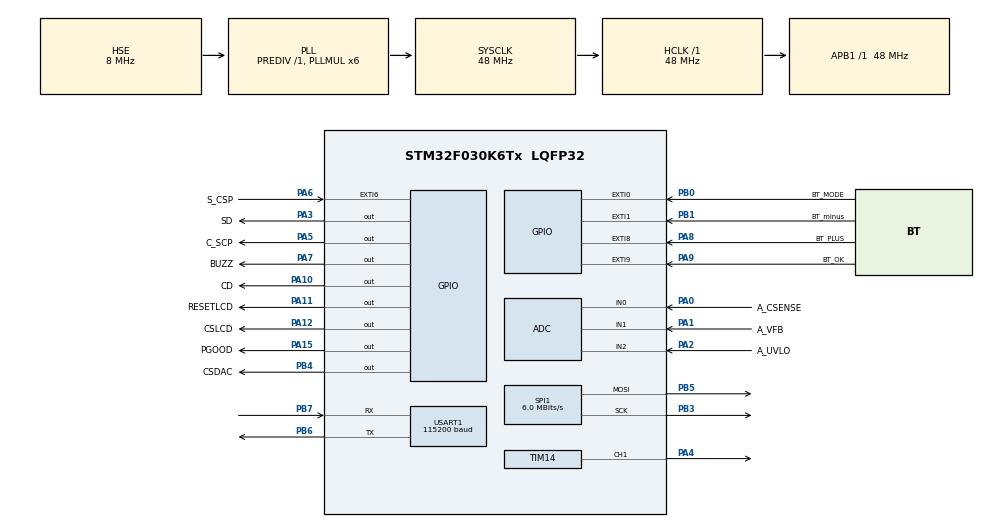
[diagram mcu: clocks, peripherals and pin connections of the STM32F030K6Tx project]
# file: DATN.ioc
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ADC.ContinuousConvMode=ENABLE
ADC.DMAContinuousRequests=ENABLE
ADC.EOCSelection=ADC_EOC_SEQ_CONV
ADC.ScanConvMode=ADC_SCAN_DIRECTION_BACKWARD
Dma.ADC.0.Direction=DMA_PERIPH_TO_MEMORY
Dma.ADC.0.Instance=DMA1_Channel1
Dma.ADC.0.MemDataAlignment=DMA_MDATAALIGN_WORD
Dma.ADC.0.MemInc=DMA_MINC_ENABLE
Dma.ADC.0.Mode=DMA_CIRCULAR
Dma.ADC.0.PeriphDataAlignment=DMA_PDATAALIGN_WORD
Dma.ADC.0.PeriphInc=DMA_PINC_DISABLE
Dma.ADC.0.Priority=DMA_PRIORITY_LOW
Dma.Request0=ADC
Dma.Request1=USART1_RX
Dma.Request2=USART1_TX
Dma.USART1_RX.1.Direction=DMA_PERIPH_TO_MEMORY
Dma.USART1_RX.1.Instance=DMA1_Channel3
Dma.USART1_RX.1.MemDataAlignment=DMA_MDATAALIGN_BYTE
Dma.USART1_RX.1.MemInc=DMA_MINC_ENABLE
Dma.USART1_RX.1.Mode=DMA_NORMAL
Dma.USART1_RX.1.PeriphDataAlignment=DMA_PDATAALIGN_BYTE
Dma.USART1_RX.1.PeriphInc=DMA_PINC_DISABLE
Dma.USART1_RX.1.Priority=DMA_PRIORITY_LOW
Dma.USART1_TX.2.Direction=DMA_MEMORY_TO_PERIPH
Dma.USART1_TX.2.Instance=DMA1_Channel2
Dma.USART1_TX.2.MemDataAlignment=DMA_MDATAALIGN_BYTE
Dma.USART1_TX.2.MemInc=DMA_MINC_ENABLE
Dma.USART1_TX.2.Mode=DMA_NORMAL
Dma.USART1_TX.2.PeriphDataAlignment=DMA_PDATAALIGN_BYTE
Dma.USART1_TX.2.PeriphInc=DMA_PINC_DISABLE
Dma.USART1_TX.2.Priority=DMA_PRIORITY_LOW
Mcu.Family=STM32F0
Mcu.Name=STM32F030K6Tx
Mcu.Package=LQFP32
NVIC.DMA1_Channel1_IRQn=true\:0\:0\:false\:false\:true\:false\:true\:true
NVIC.DMA1_Channel2_3_IRQn=true\:0\:0\:false\:false\:true\:false\:true\:true
NVIC.EXTI0_1_IRQn=true\:1\:0\:true\:false\:true\:true\:true\:true
NVIC.EXTI4_15_IRQn=true\:1\:0\:true\:false\:true\:true\:true\:true
NVIC.USART1_IRQn=true\:0\:0\:false\:false\:true\:true\:true\:true
PA0.GPIO_Label=A_CSENSE
PA0.Mode=IN0
PA0.Signal=ADC_IN0
PA1.GPIO_Label=A_VFB
PA1.Mode=IN1
PA1.Signal=ADC_IN1
PA10.GPIO_FMA10=__NULL
PA10.GPIO_Label=CD
PA10.GPIO_Speed=GPIO_SPEED_FREQ_HIGH
PA10.Signal=GPIO_Output
PA11.GPIO_Label=RESETLCD
PA11.GPIO_Speed=GPIO_SPEED_FREQ_HIGH
PA11.Signal=GPIO_Output
PA12.GPIO_Label=CSLCD
PA12.GPIO_PuPd=GPIO_NOPULL
PA12.GPIO_Speed=GPIO_SPEED_FREQ_HIGH
PA12.PinState=GPIO_PIN_SET
PA12.Signal=GPIO_Output
PA13.Mode=Serial_Wire
PA13.Signal=SYS_SWDIO
PA14.Mode=Serial_Wire
PA14.Signal=SYS_SWCLK
PA15.GPIO_Label=PGOOD
PA15.PinState=GPIO_PIN_SET
PA15.Signal=GPIO_Output
PA2.GPIO_Label=A_UVLO
PA2.Mode=IN2
PA2.Signal=ADC_IN2
PA3.GPIO_Label=SD
PA3.GPIO_PuPd=GPIO_NOPULL
PA3.PinState=GPIO_PIN_SET
PA3.Signal=GPIO_Output
PA4.Signal=S_TIM14_CH1
PA5.GPIO_Label=C_SCP
PA5.GPIO_PuPd=GPIO_PULLDOWN
PA5.Signal=GPIO_Output
PA6.GPIO_Label=S_CSP
PA6.GPIO_ModeDefaultEXTI=GPIO_MODE_IT_FALLING
PA6.Signal=GPXTI6
PA7.GPIO_Label=BUZZ
PA7.Signal=GPIO_Output
PA8.GPIO_Label=BT_PLUS
PA8.GPIO_ModeDefaultEXTI=GPIO_MODE_IT_FALLING
PA8.Signal=GPXTI8
PA9.GPIO_Label=BT_OK
PA9.GPIO_ModeDefaultEXTI=GPIO_MODE_IT_FALLING
PA9.Signal=GPXTI9
PB0.GPIO_Label=BT_MODE
PB0.GPIO_ModeDefaultEXTI=GPIO_MODE_IT_FALLING
PB0.Signal=GPXTI0
PB1.GPIO_Label=BT_minus
PB1.GPIO_ModeDefaultEXTI=GPIO_MODE_IT_FALLING
PB1.Signal=GPXTI1
PB3.Mode=TX_Only_Simplex_Unidirect_Master
PB3.Signal=SPI1_SCK
PB4.GPIO_Label=CSDAC
PB4.GPIO_PuPd=GPIO_NOPULL
PB4.GPIO_Speed=GPIO_SPEED_FREQ_HIGH
PB4.PinState=GPIO_PIN_SET
PB4.Signal=GPIO_Output
PB5.Mode=TX_Only_Simplex_Unidirect_Master
PB5.Signal=SPI1_MOSI
PB6.Mode=Asynchronous
PB6.Signal=USART1_TX
PB7.Mode=Asynchronous
PB7.Signal=USART1_RX
PF0-OSC_IN.Mode=HSE-External-Oscillator
PF0-OSC_IN.Signal=RCC_OSC_IN
PF1-OSC_OUT.Mode=HSE-External-Oscillator
PF1-OSC_OUT.Signal=RCC_OSC_OUT
ProjectManager.HeapSize=0x200
ProjectManager.StackSize=0x400
ProjectManager.TargetToolchain=MDK-ARM V5.32
RCC.AHBFreq_Value=48000000
RCC.APB1Freq_Value=48000000
RCC.APB1TimFreq_Value=48000000
RCC.HCLKFreq_Value=48000000
RCC.PLLMUL=RCC_PLL_MUL6
RCC.PLLSourceVirtual=RCC_PLLSOURCE_HSE
RCC.SYSCLKFreq_VALUE=48000000
RCC.SYSCLKSource=RCC_SYSCLKSOURCE_PLLCLK
SH.S_TIM14_CH1.0=TIM14_CH1,PWM Generation1 CH1
SPI1.BaudRatePrescaler=SPI_BAUDRATEPRESCALER_8
SPI1.CLKPhase=SPI_PHASE_2EDGE
SPI1.CLKPolarity=SPI_POLARITY_HIGH
SPI1.CalculateBaudRate=6.0 MBits/s
SPI1.DataSize=SPI_DATASIZE_8BIT
SPI1.Direction=SPI_DIRECTION_2LINES
SPI1.Mode=SPI_MODE_MASTER
SPI1.VirtualType=VM_MASTER
TIM14.AutoReloadPreload=TIM_AUTORELOAD_PRELOAD_DISABLE
TIM14.Channel=TIM_CHANNEL_1
TIM14.OCMode_PWM=TIM_OCMODE_PWM1
TIM14.Period=960-1
TIM14.Pulse=24
USART1.BaudRate=115200
USART1.VirtualMode-Asynchronous=VM_ASYNC
VP_TIM14_VS_ClockSourceINT.Mode=Enable_Timer
board=custom

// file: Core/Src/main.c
/* USER CODE BEGIN Header */
/**
  ******************************************************************************
  * @file           : main.c
  * @brief          : Main program body
  ******************************************************************************
  * @attention
  *
  * Copyright (c) 2022 STMicroelectronics.
  * All rights reserved.
  *
  * This software is licensed under terms that can be found in the LICENSE file
  * in the root directory of this software component.
  * If no LICENSE file comes with this software, it is provided AS-IS.
  *
  ******************************************************************************
  */
/* USER CODE END Header */
#include "main.h"

/* USER CODE BEGIN Includes */
#include<stdint.h>
//#include "stm32f0xx_hal_flash_ex.h"
/* USER CODE END Includes */

/* USER CODE BEGIN PTD */
typedef enum Warning_status
{
  WARNING_NONE = 0,
  WARNING_OVP,
  WARNING_OCP,
  WARNING_UVLO,
  WARNING_SCP
}WARNING_status;

typedef enum Mode_status
{
  MODE_NONE = 0,
  MODE_SET_VOUT,
  MODE_SET_OCP,
  MODE_SET_UVLO
};
/* USER CODE END PTD */

/* USER CODE BEGIN PD */
#define FACTOR_UVLO 156.844 // =(4095/3.3V)*(6.8k/(6.8k+47k))
#define FACTOR_VOUT 310.227 // =(4095/3.3V)*(15.67k/(15.67k+47k))
#define FACTOR_OVP 93.0681 // =0.3V*(4095/3.3V)*(15.67k/(15.67k+47k))
#define FACTOR_OCP(I_set) (1240.909 + I_set * 124.0909) // =(4095/3.3)*1 + I_set *((4095/3.3)/10A)

#define PG_TH 0.9 // 90% VOUT
#define PG_HYSTERESIS 0.05 // 5% VOUT
/* USER CODE END PD */

 ADC_HandleTypeDef hadc;
DMA_HandleTypeDef hdma_adc;

SPI_HandleTypeDef hspi1;

TIM_HandleTypeDef htim14;

UART_HandleTypeDef huart1;
DMA_HandleTypeDef hdma_usart1_rx;
DMA_HandleTypeDef hdma_usart1_tx;

/* USER CODE BEGIN PV */

FLASH_EraseInitTypeDef erase_init;
uint32_t erase_error_check = 0;

uint32_t adc_value[3]; // Position: [0]A_UVLO, [1]A_VFB, [2]A_CSENSE
uint8_t uart_rx_value[10];

uint32_t current_warning = WARNING_NONE;
uint32_t current_mode = MODE_NONE;
/* USER CODE END PV */

void SystemClock_Config(void);
static void MX_GPIO_Init(void);
static void MX_ADC_Init(void);
static void MX_SPI1_Init(void);
static void MX_DMA_Init(void);
static void MX_USART1_UART_Init(void);
static void MX_TIM14_Init(void);

int main(void)
{

  /* MCU Configuration--------------------------------------------------------*/

  /* Reset of all peripherals, Initializes the Flash interface and the Systick. */
  HAL_Init();

  /* Configure the system clock */
  SystemClock_Config();

  /* Initialize all configured peripherals */
  MX_GPIO_Init();
  MX_ADC_Init();
  MX_SPI1_Init();
  MX_DMA_Init();
  MX_USART1_UART_Init();
  MX_TIM14_Init();
  /* USER CODE BEGIN 2 */
  // Khởi tạo ADC, DMA, SPI, UART, LCD.
	HAL_ADC_Start_DMA(&hadc, adc_value, sizeof(adc_value));
	HAL_UART_Receive_DMA(&huart1, uart_rx_value, sizeof(uart_rx_value)); // Note: dữ liệu mới tự động ghi đè khi tràn vùng nhớ

  /*
  1. Khởi tạo giá trị của biến bảo vệ mặc định. VD: int UVLO = 11V.
  2. Sau đó đọc lại các giá trị này từ bộ nhớ flash.
  */
	float	uvlo = 11 * FACTOR_UVLO;		// Bảo vệ sụt áp tại 11V
	float vout = 3.3 * FACTOR_VOUT;		// Cài đặt điện áp ra 3.3V
	float ovp = vout + FACTOR_OVP;		// Bảo vệ quá áp khi vượt quá 0.3V
  float pw_good_th = vout*PG_TH;       // Ngưỡng kích hoạt LED Power good
  float pw_good_hys = vout*PG_HYSTERESIS; // Khoảng trễ LED Power good
	float ocp = FACTOR_OCP(10);				// Bảo vệ quá dòng 10A

  BEGIN_SWITCH_ON: // Bắt đầu đóng điện vào mạch công suất
  HAL_GPIO_WritePin(C_SCP_GPIO_Port, C_SCP_Pin, GPIO_PIN_SET); // Đóng điện vào
  HAL_TIM_PWM_Start(&htim14, TIM_CHANNEL_1); // Start timer, output PWM 50kHz 2.5%

  if((HAL_GPIO_ReadPin(S_CSP_GPIO_Port, S_CSP_Pin) & HAL_GPIO_ReadPin(C_SCP_GPIO_Port, C_SCP_Pin)) == 1){
    HAL_Delay(100); // delay 100ms
  }
  else{
    current_warning = WARNING_SCP;
    HAL_GPIO_WritePin(C_SCP_GPIO_Port, C_SCP_Pin, GPIO_PIN_RESET);
    HAL_GPIO_WritePin(SD_GPIO_Port, SD_Pin, GPIO_PIN_SET);
    HAL_TIM_PWM_Stop(&htim14, TIM_CHANNEL_1);
    // Hiển thị LCD ngắn mạch
    while (current_warning != WARNING_NONE); // wait for OK button
    goto BEGIN_SWITCH_ON;
  }
  /* USER CODE END 2 */

  /* Infinite loop */
  /* USER CODE BEGIN WHILE */
  BEGIN_OUTPUT: // Bắt đầu xuất điện áp ra VOUT và đo đạc ADC
  HAL_GPIO_WritePin(SD_GPIO_Port, SD_Pin, GPIO_PIN_RESET);
  while (1)
  {
    // Undervoltage lockout
    if(adc_value[0] <= uvlo){ // A_UVLO <= UVLO
      current_warning = WARNING_UVLO;
      HAL_GPIO_WritePin(C_SCP_GPIO_Port, C_SCP_Pin, GPIO_PIN_RESET);
      HAL_GPIO_WritePin(SD_GPIO_Port, SD_Pin, GPIO_PIN_SET);
      HAL_TIM_PWM_Stop(&htim14, TIM_CHANNEL_1);
      // Hiển thị LCD sụt áp
      while (current_warning != WARNING_NONE); // wait for OK button
      goto BEGIN_SWITCH_ON;
    }
    // Overvoltage protection
    if(adc_value[1] >= ovp){ // A_VFB >= OVP
      current_warning = WARNING_OVP;
      HAL_GPIO_WritePin(C_SCP_GPIO_Port, C_SCP_Pin, GPIO_PIN_RESET);
      HAL_GPIO_WritePin(SD_GPIO_Port, SD_Pin, GPIO_PIN_SET);
      // Hiển thị LCD quá áp
      while (current_warning != WARNING_NONE);
      goto BEGIN_SWITCH_ON;
    }
    // Overcurrent protection
    if(adc_value[2] >= ocp){ // A_CSENSE >= OCP
      current_warning = WARNING_OCP;
      HAL_GPIO_WritePin(SD_GPIO_Port, SD_Pin, GPIO_PIN_SET);
      // Hiển thị LCD quá dòng
      while (current_warning != WARNING_NONE);
      goto BEGIN_OUTPUT;
    }
    // LED power good
    if(adc_value[1] >= (pw_good_th + pw_good_hys)){
      HAL_GPIO_WritePin(PGOOD_GPIO_Port, PGOOD_Pin, GPIO_PIN_RESET);
    }else if (adc_value[1] <= (pw_good_th - pw_good_hys)){
      HAL_GPIO_WritePin(PGOOD_GPIO_Port, PGOOD_Pin, GPIO_PIN_SET);
    }

    // -------------------------------------
    // Hiển thị dòng, áp, công suất lên LCD.
    // -------------------------------------

    /* USER CODE END WHILE */

  }
}

void SystemClock_Config(void)
{
  RCC_OscInitTypeDef RCC_OscInitStruct = {0};
  RCC_ClkInitTypeDef RCC_ClkInitStruct = {0};
  RCC_PeriphCLKInitTypeDef PeriphClkInit = {0};

  /** Initializes the RCC Oscillators according to the specified parameters
  * in the RCC_OscInitTypeDef structure.
  */
  RCC_OscInitStruct.OscillatorType = RCC_OSCILLATORTYPE_HSI14|RCC_OSCILLATORTYPE_HSE;
  RCC_OscInitStruct.HSEState = RCC_HSE_ON;
  RCC_OscInitStruct.HSI14State = RCC_HSI14_ON;
  RCC_OscInitStruct.HSI14CalibrationValue = 16;
  RCC_OscInitStruct.PLL.PLLState = RCC_PLL_ON;
  RCC_OscInitStruct.PLL.PLLSource = RCC_PLLSOURCE_HSE;
  RCC_OscInitStruct.PLL.PLLMUL = RCC_PLL_MUL6;
  RCC_OscInitStruct.PLL.PREDIV = RCC_PREDIV_DIV1;
  if (HAL_RCC_OscConfig(&RCC_OscInitStruct) != HAL_OK)
  {
    Error_Handler();
  }

  /** Initializes the CPU, AHB and APB buses clocks
  */
  RCC_ClkInitStruct.ClockType = RCC_CLOCKTYPE_HCLK|RCC_CLOCKTYPE_SYSCLK
                              |RCC_CLOCKTYPE_PCLK1;
  RCC_ClkInitStruct.SYSCLKSource = RCC_SYSCLKSOURCE_PLLCLK;
  RCC_ClkInitStruct.AHBCLKDivider = RCC_SYSCLK_DIV1;
  RCC_ClkInitStruct.APB1CLKDivider = RCC_HCLK_DIV1;

  if (HAL_RCC_ClockConfig(&RCC_ClkInitStruct, FLASH_LATENCY_1) != HAL_OK)
  {
    Error_Handler();
  }
  PeriphClkInit.PeriphClockSelection = RCC_PERIPHCLK_USART1;
  PeriphClkInit.Usart1ClockSelection = RCC_USART1CLKSOURCE_PCLK1;
  if (HAL_RCCEx_PeriphCLKConfig(&PeriphClkInit) != HAL_OK)
  {
    Error_Handler();
  }
}

static void MX_ADC_Init(void)
{

  ADC_ChannelConfTypeDef sConfig = {0};

  /** Configure the global features of the ADC (Clock, Resolution, Data Alignment and number of conversion)
  */
  hadc.Instance = ADC1;
  hadc.Init.ClockPrescaler = ADC_CLOCK_ASYNC_DIV1;
  hadc.Init.Resolution = ADC_RESOLUTION_12B;
  hadc.Init.DataAlign = ADC_DATAALIGN_RIGHT;
  hadc.Init.ScanConvMode = ADC_SCAN_DIRECTION_BACKWARD;
  hadc.Init.EOCSelection = ADC_EOC_SEQ_CONV;
  hadc.Init.LowPowerAutoWait = DISABLE;
  hadc.Init.LowPowerAutoPowerOff = DISABLE;
  hadc.Init.ContinuousConvMode = ENABLE;
  hadc.Init.DiscontinuousConvMode = DISABLE;
  hadc.Init.ExternalTrigConv = ADC_SOFTWARE_START;
  hadc.Init.ExternalTrigConvEdge = ADC_EXTERNALTRIGCONVEDGE_NONE;
  hadc.Init.DMAContinuousRequests = ENABLE;
  hadc.Init.Overrun = ADC_OVR_DATA_PRESERVED;
  if (HAL_ADC_Init(&hadc) != HAL_OK)
  {
    Error_Handler();
  }

  /** Configure for the selected ADC regular channel to be converted.
  */
  sConfig.Channel = ADC_CHANNEL_0;
  sConfig.Rank = ADC_RANK_CHANNEL_NUMBER;
  sConfig.SamplingTime = ADC_SAMPLETIME_1CYCLE_5;
  if (HAL_ADC_ConfigChannel(&hadc, &sConfig) != HAL_OK)
  {
    Error_Handler();
  }

  /** Configure for the selected ADC regular channel to be converted.
  */
  sConfig.Channel = ADC_CHANNEL_1;
  if (HAL_ADC_ConfigChannel(&hadc, &sConfig) != HAL_OK)
  {
    Error_Handler();
  }

  /** Configure for the selected ADC regular channel to be converted.
  */
  sConfig.Channel = ADC_CHANNEL_2;
  if (HAL_ADC_ConfigChannel(&hadc, &sConfig) != HAL_OK)
  {
    Error_Handler();
  }

}

static void MX_SPI1_Init(void)
{

  /* SPI1 parameter configuration*/
  hspi1.Instance = SPI1;
  hspi1.Init.Mode = SPI_MODE_MASTER;
  hspi1.Init.Direction = SPI_DIRECTION_2LINES;
  hspi1.Init.DataSize = SPI_DATASIZE_8BIT;
  hspi1.Init.CLKPolarity = SPI_POLARITY_HIGH;
  hspi1.Init.CLKPhase = SPI_PHASE_2EDGE;
  hspi1.Init.NSS = SPI_NSS_SOFT;
  hspi1.Init.BaudRatePrescaler = SPI_BAUDRATEPRESCALER_8;
  hspi1.Init.FirstBit = SPI_FIRSTBIT_MSB;
  hspi1.Init.TIMode = SPI_TIMODE_DISABLE;
  hspi1.Init.CRCCalculation = SPI_CRCCALCULATION_DISABLE;
  hspi1.Init.CRCPolynomial = 7;
  hspi1.Init.CRCLength = SPI_CRC_LENGTH_DATASIZE;
  hspi1.Init.NSSPMode = SPI_NSS_PULSE_DISABLE;
  if (HAL_SPI_Init(&hspi1) != HAL_OK)
  {
    Error_Handler();
  }

}

static void MX_TIM14_Init(void)
{

  TIM_OC_InitTypeDef sConfigOC = {0};

  htim14.Instance = TIM14;
  htim14.Init.Prescaler = 0;
  htim14.Init.CounterMode = TIM_COUNTERMODE_UP;
  htim14.Init.Period = 960-1; // 50kHz
  htim14.Init.ClockDivision = TIM_CLOCKDIVISION_DIV1;
  htim14.Init.AutoReloadPreload = TIM_AUTORELOAD_PRELOAD_DISABLE;
  if (HAL_TIM_Base_Init(&htim14) != HAL_OK)
  {
    Error_Handler();
  }
  if (HAL_TIM_PWM_Init(&htim14) != HAL_OK)
  {
    Error_Handler();
  }
  sConfigOC.OCMode = TIM_OCMODE_PWM1;
  sConfigOC.Pulse = 24; // 2.5%
  sConfigOC.OCPolarity = TIM_OCPOLARITY_HIGH;
  sConfigOC.OCFastMode = TIM_OCFAST_DISABLE;
  if (HAL_TIM_PWM_ConfigChannel(&htim14, &sConfigOC, TIM_CHANNEL_1) != HAL_OK)
  {
    Error_Handler();
  }
  HAL_TIM_MspPostInit(&htim14);

}

static void MX_USART1_UART_Init(void)
{

  huart1.Instance = USART1;
  huart1.Init.BaudRate = 115200;
  huart1.Init.WordLength = UART_WORDLENGTH_8B;
  huart1.Init.StopBits = UART_STOPBITS_1;
  huart1.Init.Parity = UART_PARITY_NONE;
  huart1.Init.Mode = UART_MODE_TX_RX;
  huart1.Init.HwFlowCtl = UART_HWCONTROL_NONE;
  huart1.Init.OverSampling = UART_OVERSAMPLING_16;
  huart1.Init.OneBitSampling = UART_ONE_BIT_SAMPLE_DISABLE;
  huart1.AdvancedInit.AdvFeatureInit = UART_ADVFEATURE_NO_INIT;
  if (HAL_UART_Init(&huart1) != HAL_OK)
  {
    Error_Handler();
  }

}

static void MX_DMA_Init(void)
{

  /* DMA controller clock enable */
  __HAL_RCC_DMA1_CLK_ENABLE();

  /* DMA interrupt init */
  /* DMA1_Channel1_IRQn interrupt configuration */
  HAL_NVIC_SetPriority(DMA1_Channel1_IRQn, 0, 0);
  HAL_NVIC_EnableIRQ(DMA1_Channel1_IRQn);
  /* DMA1_Channel2_3_IRQn interrupt configuration */
  HAL_NVIC_SetPriority(DMA1_Channel2_3_IRQn, 0, 0);
  HAL_NVIC_EnableIRQ(DMA1_Channel2_3_IRQn);

}

static void MX_GPIO_Init(void)
{
  GPIO_InitTypeDef GPIO_InitStruct = {0};

  /* GPIO Ports Clock Enable */
  __HAL_RCC_GPIOF_CLK_ENABLE();
  __HAL_RCC_GPIOA_CLK_ENABLE();
  __HAL_RCC_GPIOB_CLK_ENABLE();

  /*Configure GPIO pin Output Level */
  HAL_GPIO_WritePin(GPIOA, SD_Pin|CSLCD_Pin|PGOOD_Pin, GPIO_PIN_SET);

  /*Configure GPIO pin Output Level */
  HAL_GPIO_WritePin(GPIOA, C_SCP_Pin|BUZZ_Pin|CD_Pin|RESETLCD_Pin, GPIO_PIN_RESET);

  /*Configure GPIO pin Output Level */
  HAL_GPIO_WritePin(CSDAC_GPIO_Port, CSDAC_Pin, GPIO_PIN_SET);

  /*Configure GPIO pins : SD_Pin BUZZ_Pin PGOOD_Pin */
  GPIO_InitStruct.Pin = SD_Pin|BUZZ_Pin|PGOOD_Pin;
  GPIO_InitStruct.Mode = GPIO_MODE_OUTPUT_PP;
  GPIO_InitStruct.Pull = GPIO_NOPULL;
  GPIO_InitStruct.Speed = GPIO_SPEED_FREQ_LOW;
  HAL_GPIO_Init(GPIOA, &GPIO_InitStruct);

  /*Configure GPIO pin : C_SCP_Pin */
  GPIO_InitStruct.Pin = C_SCP_Pin;
  GPIO_InitStruct.Mode = GPIO_MODE_OUTPUT_PP;
  GPIO_InitStruct.Pull = GPIO_PULLDOWN;
  GPIO_InitStruct.Speed = GPIO_SPEED_FREQ_LOW;
  HAL_GPIO_Init(C_SCP_GPIO_Port, &GPIO_InitStruct);

  /*Configure GPIO pins : S_CSP_Pin BT_PLUS_Pin BT_OK_Pin */
  GPIO_InitStruct.Pin = S_CSP_Pin|BT_PLUS_Pin|BT_OK_Pin;
  GPIO_InitStruct.Mode = GPIO_MODE_IT_FALLING;
  GPIO_InitStruct.Pull = GPIO_NOPULL;
  HAL_GPIO_Init(GPIOA, &GPIO_InitStruct);

  /*Configure GPIO pins : BT_MODE_Pin BT_minus_Pin */
  GPIO_InitStruct.Pin = BT_MODE_Pin|BT_minus_Pin;
  GPIO_InitStruct.Mode = GPIO_MODE_IT_FALLING;
  GPIO_InitStruct.Pull = GPIO_NOPULL;
  HAL_GPIO_Init(GPIOB, &GPIO_InitStruct);

  /*Configure GPIO pins : CD_Pin RESETLCD_Pin CSLCD_Pin */
  GPIO_InitStruct.Pin = CD_Pin|RESETLCD_Pin|CSLCD_Pin;
  GPIO_InitStruct.Mode = GPIO_MODE_OUTPUT_PP;
  GPIO_InitStruct.Pull = GPIO_NOPULL;
  GPIO_InitStruct.Speed = GPIO_SPEED_FREQ_HIGH;
  HAL_GPIO_Init(GPIOA, &GPIO_InitStruct);

  /*Configure GPIO pin : CSDAC_Pin */
  GPIO_InitStruct.Pin = CSDAC_Pin;
  GPIO_InitStruct.Mode = GPIO_MODE_OUTPUT_PP;
  GPIO_InitStruct.Pull = GPIO_NOPULL;
  GPIO_InitStruct.Speed = GPIO_SPEED_FREQ_HIGH;
  HAL_GPIO_Init(CSDAC_GPIO_Port, &GPIO_InitStruct);

  /* EXTI interrupt init*/
  HAL_NVIC_SetPriority(EXTI0_1_IRQn, 1, 0);
  HAL_NVIC_EnableIRQ(EXTI0_1_IRQn);

  HAL_NVIC_SetPriority(EXTI4_15_IRQn, 1, 0);
  HAL_NVIC_EnableIRQ(EXTI4_15_IRQn);

}

/* USER CODE BEGIN 4 */
void HAL_GPIO_EXTI_Callback(uint16_t GPIO_Pin){
  //
}
/* USER CODE END 4 */

void Error_Handler(void)
{
  __disable_irq();
  while (1)
  {
  }
}
